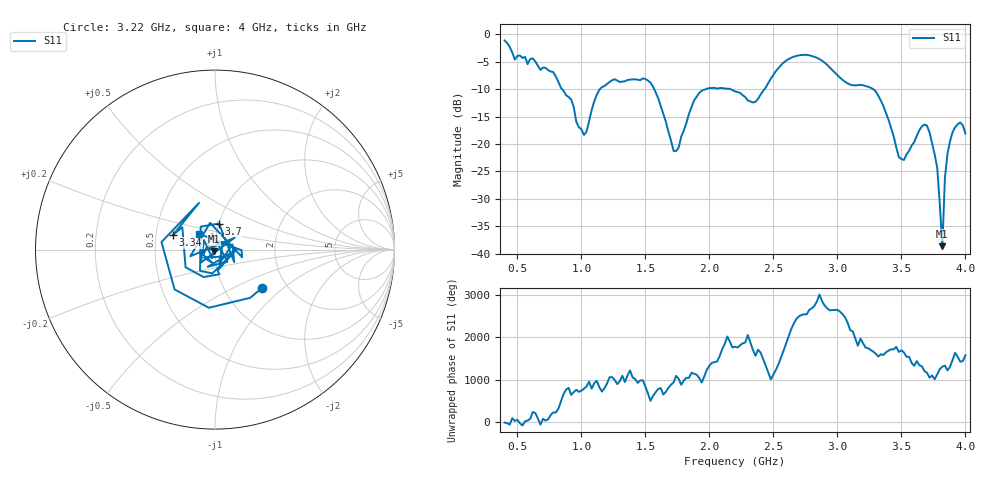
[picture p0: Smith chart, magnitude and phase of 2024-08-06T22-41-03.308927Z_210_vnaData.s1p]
!Created with skrf (http://scikit-rf.org).
# Hz S RI R 50.0
!freq ReS11 ImS11
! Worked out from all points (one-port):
!   181 points, 400 MHz to 4 GHz, reference 50 ohm
!   lowest |S11| = -38.6 dB at 3.82 GHz (marker M1), VSWR 1.02, Z = 49.2 - j0.832 ohm
!   |S11| at or under -10 dB: 849.5 MHz to 1.145 GHz (295.3 MHz wide, 29.6 % of centre); 1.569 GHz to 1.972 GHz (403.3 MHz wide, 22.8 % of centre); 3.28 GHz to end of sweep (the widest 3 of 4)
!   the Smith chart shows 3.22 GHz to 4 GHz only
!   S11 on the Smith chart (normalised r, x): 3.22 GHz: 1.50, -0.72; 3.34 GHz: 0.61, +0.11; 3.7 GHz: 1.00, +0.30; 4 GHz: 0.83, +0.15
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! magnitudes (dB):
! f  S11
! 400 MHz  -1.1
! 480 MHz  -4.6
! 620 MHz  -4.4
! 780 MHz  -6.9
! 860 MHz  -10.3
! 1.02 GHz  -18.3
! 1.14 GHz  -10.1
! 1.3 GHz  -8.7
! 1.54 GHz  -8.8
! 1.72 GHz  -21.2
! 1.76 GHz  -20.6
! 1.92 GHz  -10.7
! 2.2 GHz  -10.4
! 2.36 GHz  -12.3
! 2.66 GHz  -4.1
! 2.84 GHz  -4.3
! 3.1 GHz  -9.2
! 3.22 GHz  -9.4
! 3.34 GHz  -12.1
! 3.48 GHz  -22.4
! 3.56 GHz  -21.2
! 3.7 GHz  -16.7
! 3.78 GHz  -24.4
! 3.82 GHz  -38.6
! 3.84 GHz  -26.2
! 3.88 GHz  -19.5
! 3.96 GHz  -16.1
! 4 GHz  -18.1
